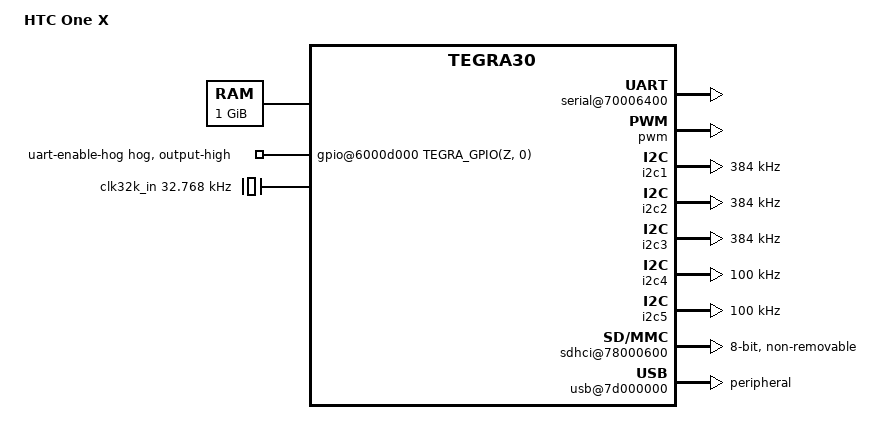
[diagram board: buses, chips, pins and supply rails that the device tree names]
// SPDX-License-Identifier: GPL-2.0
/dts-v1/;

/* This dts file describes the HTC One X smartphone */
/* CPU Speedo ID 4, Soc Speedo ID 1, CPU Process: 1, Core Process: 0 */

#include <dt-bindings/input/gpio-keys.h>
#include <dt-bindings/input/input.h>
#include <dt-bindings/thermal/thermal.h>

#include "tegra30.dtsi"
#include "tegra30-cpu-opp.dtsi"
#include "tegra30-cpu-opp-microvolt.dtsi"

/ {
	model = "HTC One X";
	compatible = "htc,endeavoru", "nvidia,tegra30";
	chassis-type = "handset";

	aliases {
		mmc0 = &sdmmc4;	/* eMMC */

		rtc1 = "/rtc@7000e000";

		serial0 = &uarte; /* Console */
	};

	/*
	 * The decompressor and also some bootloaders rely on a
	 * pre-existing /chosen node to be available to insert the
	 * command line and merge other ATAGS info.
	 */
	chosen {
		stdout-path = &uarte;
	};

	memory@80000000 {
		reg = <0x80000000 0x40000000>;
	};

	reserved-memory {
		#address-cells = <1>;
		#size-cells = <1>;
		ranges;

		linux,cma@80000000 {
			compatible = "shared-dma-pool";
			alloc-ranges = <0x80000000 0x30000000>;
			size = <0x10000000>;		/* 256MiB */
			linux,cma-default;
			reusable;
		};

		trustzone@bfe00000 {
			reg = <0xbfe00000 0x200000>;	/* 2MB */
			no-map;
		};
	};

	host1x@50000000 { };

	gpio@6000d000 {
		uart-enable-hog {
			gpio-hog;
			gpios = <TEGRA_GPIO(Z, 0) GPIO_ACTIVE_HIGH>;
			output-high;
		};
	};

	vde@6001a000 {
		assigned-clocks = <&tegra_car TEGRA30_CLK_VDE>;
		assigned-clock-parents = <&tegra_car TEGRA30_CLK_PLL_P>;
		assigned-clock-rates = <408000000>;
	};

	pinmux@70000868 {
		pinctrl-names = "default";
		pinctrl-0 = <&state_default>;

		state_default: pinmux {
			/* I2C pinmux group */
			per_sensor_i2c {
				nvidia,pins = "gen1_i2c_scl_pc4",
						"gen1_i2c_sda_pc5";
				nvidia,function = "i2c1";
				nvidia,pull = <TEGRA_PIN_PULL_NONE>;
				nvidia,tristate = <TEGRA_PIN_DISABLE>;
				nvidia,enable-input = <TEGRA_PIN_ENABLE>;
				nvidia,open-drain = <TEGRA_PIN_DISABLE>;
				nvidia,lock = <TEGRA_PIN_DISABLE>;
			};
			dsp_tw_i2c {
				nvidia,pins = "gen2_i2c_scl_pt5",
						"gen2_i2c_sda_pt6";
				nvidia,function = "i2c2";
				nvidia,pull = <TEGRA_PIN_PULL_NONE>;
				nvidia,tristate = <TEGRA_PIN_DISABLE>;
				nvidia,enable-input = <TEGRA_PIN_ENABLE>;
				nvidia,open-drain = <TEGRA_PIN_DISABLE>;
				nvidia,lock = <TEGRA_PIN_DISABLE>;
			};
			camera_i2c {
				nvidia,pins = "cam_i2c_scl_pbb1",
						"cam_i2c_sda_pbb2";
				nvidia,function = "i2c3";
				nvidia,pull = <TEGRA_PIN_PULL_NONE>;
				nvidia,tristate = <TEGRA_PIN_DISABLE>;
				nvidia,enable-input = <TEGRA_PIN_ENABLE>;
				nvidia,open-drain = <TEGRA_PIN_DISABLE>;
				nvidia,lock = <TEGRA_PIN_DISABLE>;
			};
			mhl_ddc_i2c {
				nvidia,pins = "ddc_scl_pv4",
						"ddc_sda_pv5";
				nvidia,function = "i2c4";
				nvidia,pull = <TEGRA_PIN_PULL_NONE>;
				nvidia,tristate = <TEGRA_PIN_DISABLE>;
				nvidia,enable-input = <TEGRA_PIN_ENABLE>;
				nvidia,open-drain = <TEGRA_PIN_ENABLE>;
				nvidia,lock = <TEGRA_PIN_DISABLE>;
			};
			sys_pwr_i2c {
				nvidia,pins = "pwr_i2c_scl_pz6",
						"pwr_i2c_sda_pz7";
				nvidia,function = "i2cpwr";
				nvidia,pull = <TEGRA_PIN_PULL_NONE>;
				nvidia,tristate = <TEGRA_PIN_DISABLE>;
				nvidia,enable-input = <TEGRA_PIN_ENABLE>;
				nvidia,open-drain = <TEGRA_PIN_ENABLE>;
				nvidia,lock = <TEGRA_PIN_DISABLE>;
			};

			aud_remo_oe {
				nvidia,pins = "sdmmc1_clk_pz0";
				nvidia,function = "sdmmc1";
				nvidia,pull = <TEGRA_PIN_PULL_NONE>;
				nvidia,tristate = <TEGRA_PIN_DISABLE>;
				nvidia,enable-input = <TEGRA_PIN_DISABLE>;
			};

			aud_remo_tx {
				nvidia,pins = "sdmmc1_dat3_py4";
				nvidia,function = "uarte";
				nvidia,pull = <TEGRA_PIN_PULL_NONE>;
				nvidia,tristate = <TEGRA_PIN_DISABLE>;
				nvidia,enable-input = <TEGRA_PIN_DISABLE>;
			};

			aud_remo_rt {
				nvidia,pins = "sdmmc1_dat2_py5";
				nvidia,function = "uarte";
				nvidia,pull = <TEGRA_PIN_PULL_NONE>;
				nvidia,tristate = <TEGRA_PIN_DISABLE>;
				nvidia,enable-input = <TEGRA_PIN_ENABLE>;
			};

			/* GPIO power/drive control */
			drive_pingroup {
				nvidia,pins = "drive_dap2",
						"drive_spi",
						"drive_dbg",
						"drive_at5",
						"drive_gme",
						"drive_ddc",
						"drive_ao1";
				nvidia,high-speed-mode = <TEGRA_PIN_DISABLE>;
				nvidia,schmitt = <TEGRA_PIN_ENABLE>;
				nvidia,low-power-mode = <TEGRA_PIN_LP_DRIVE_DIV_1>;
				nvidia,pull-down-strength = <31>;
				nvidia,pull-up-strength = <31>;
				nvidia,slew-rate-rising = <TEGRA_PIN_SLEW_RATE_FASTEST>;
				nvidia,slew-rate-falling = <TEGRA_PIN_SLEW_RATE_FASTEST>;
			};
		};
	};

	serial@70006400 {
		compatible = "nvidia,tegra30-hsuart";
		status = "okay";

		/* UART-E Console */
	};

	pwm: pwm@7000a000 {
		status = "okay";
	};

	i2c1: i2c@7000c000 {
		status = "okay";
		clock-frequency = <384000>;
	};

	i2c2: i2c@7000c400 {
		status = "okay";
		clock-frequency = <384000>;
	};

	i2c3: i2c@7000c500 {
		status = "okay";
		clock-frequency = <384000>;
	};

	i2c4: i2c@7000c700 {
		status = "okay";
		clock-frequency = <100000>;
	};

	i2c5: i2c@7000d000 {
		status = "okay";
		clock-frequency = <100000>;
	};

	pmc@7000e400 { };

	memory-controller@7000f000 { };

	memory-controller@7000f400 { };

	hda@70030000 { };

	ahub@70080000 { };

	sdhci@78000600 {
		status = "okay";
		bus-width = <8>;
		non-removable;
	};

	usb@7d000000 {
		compatible = "nvidia,tegra30-udc";
		status = "okay";
		dr_mode = "peripheral";
	};

	usb-phy@7d000000 {
		status = "okay";
		dr_mode = "peripheral";

		nvidia,hssync-start-delay = <0>;
		nvidia,term-range-adj = <7>;
		nvidia,xcvr-setup = <14>;
		nvidia,xcvr-lsfslew = <2>;
		nvidia,xcvr-lsrslew = <2>;
	};

	/* PMIC has a built-in 32KHz oscillator which is used by PMC */
	clk32k_in: clock-32k {
		compatible = "fixed-clock";
		#clock-cells = <0>;
		clock-frequency = <32768>;
		clock-output-names = "pmic-oscillator";
	};

	firmware {
		trusted-foundations {
			compatible = "tlm,trusted-foundations";
			tlm,version-major = <2>;
			tlm,version-minor = <8>;
		};
	};
};

&emc_icc_dvfs_opp_table {
	/delete-node/ opp-625000000-1200;
	/delete-node/ opp-625000000-1250;
	/delete-node/ opp-667000000-1200;
	/delete-node/ opp-750000000-1300;
	/delete-node/ opp-800000000-1300;
	/delete-node/ opp-900000000-1350;
};

&emc_bw_dfs_opp_table {
	/delete-node/ opp-625000000;
	/delete-node/ opp-667000000;
	/delete-node/ opp-750000000;
	/delete-node/ opp-800000000;
	/delete-node/ opp-900000000;
};
